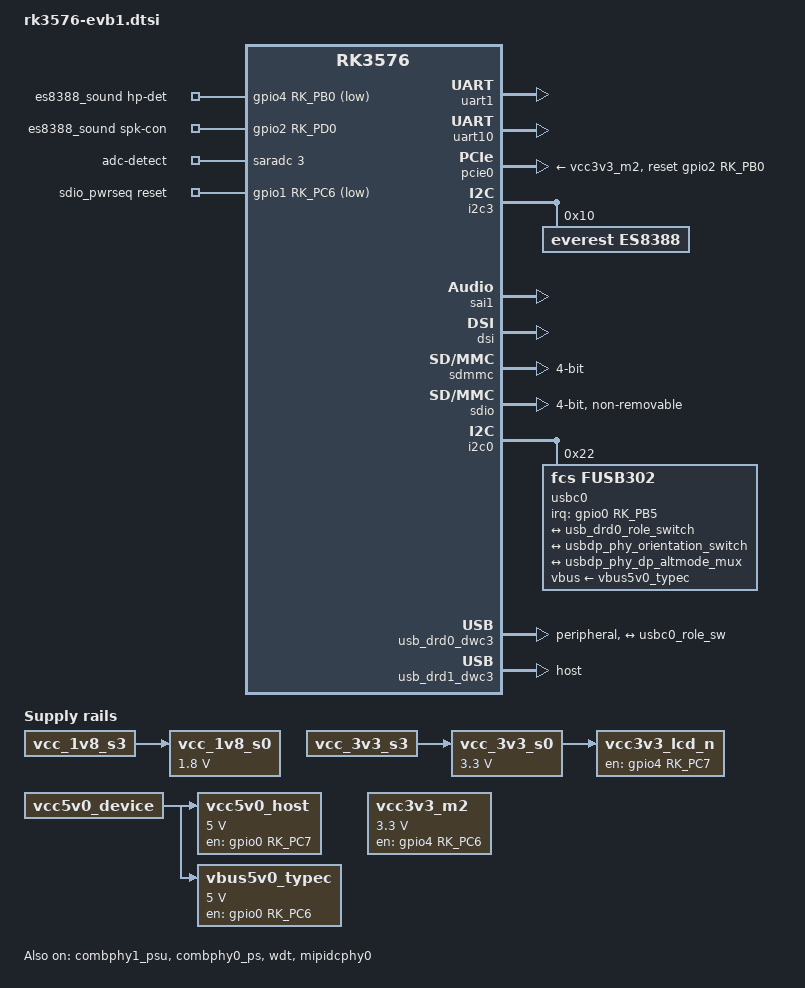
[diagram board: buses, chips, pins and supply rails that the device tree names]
// SPDX-License-Identifier: (GPL-2.0+ OR MIT)
/*
 * Copyright (c) 2024 Rockchip Electronics Co., Ltd.
 *
 */

#include <dt-bindings/usb/pd.h>
#include "rk3576-evb.dtsi"
#include "rk3576-rk806.dtsi"

/ {
	es8388_sound: es8388-sound {
        status = "okay";
        compatible = "rockchip,multicodecs-card";
        rockchip,card-name = "rockchip-es8388";
        hp-det-gpio = <&gpio4 RK_PB0 GPIO_ACTIVE_LOW>;
        io-channels = <&saradc 3>;
        io-channel-names = "adc-detect";
        keyup-threshold-microvolt = <1800000>;
        poll-interval = <100>;
        spk-con-gpio = <&gpio2 RK_PD0 GPIO_ACTIVE_HIGH>;
        //hp-con-gpio = <&gpio3 RK_PD6 GPIO_ACTIVE_HIGH>;
        rockchip,pre-power-on-delay-ms = <30>;
        rockchip,post-power-down-delay-ms = <40>;
        rockchip,format = "i2s";
        rockchip,mclk-fs = <256>;
        rockchip,cpu = <&sai1>;
        rockchip,codec = <&es8388>;
        rockchip,audio-routing =
            "Headphone", "LOUT1",
            "Headphone", "ROUT1",
            "Speaker", "LOUT2",
            "Speaker", "ROUT2",
            "Headphone", "Headphone Power",
            
            "Speaker", "Speaker Power",
            
            "LINPUT1", "Main Mic",
            
            "RINPUT1", "Headset Mic",
            "RINPUT2", "Headset Mic";
        pinctrl-names = "default";
        pinctrl-0 = <&hp_det>;
        play-pause-key {
            label = "playpause";
            linux,code = <KEY_PLAYPAUSE>;
            press-threshold-microvolt = <2000>;
        };
    };



	sdio_pwrseq: sdio-pwrseq {
        compatible = "mmc-pwrseq-simple";
        pinctrl-names = "default";
        pinctrl-0 = <&wifi_poweren_gpio>;

        /*
         * On the module itself this is one of these (depending
         * on the actual card populated):
         * - SDIO_RESET_L_WL_REG_ON
         * - PDN (power down when low)
         */
        post-power-on-delay-ms = <200>;
        reset-gpios = <&gpio1 RK_PC6 GPIO_ACTIVE_LOW>;
        status = "okay";
    };

	vcc_1v8_s0: vcc-1v8-s0 {
		compatible = "regulator-fixed";
		regulator-name = "vcc_1v8_s0";
		regulator-boot-on;
		regulator-always-on;
		regulator-min-microvolt = <1800000>;
		regulator-max-microvolt = <1800000>;
		vin-supply = <&vcc_1v8_s3>;
	};

	vcc_3v3_s0: vcc-3v3-s0 {
		compatible = "regulator-fixed";
		regulator-name = "vcc_3v3_s0";
		regulator-boot-on;
		regulator-always-on;
		regulator-min-microvolt = <3300000>;
		regulator-max-microvolt = <3300000>;
		vin-supply = <&vcc_3v3_s3>;
	};



	



	vcc3v3_lcd_n: vcc3v3-lcd0-n {
		compatible = "regulator-fixed";
		regulator-name = "vcc3v3_lcd0_n";
		regulator-boot-on;
		enable-active-high;
		gpio = <&gpio4 RK_PC7 GPIO_ACTIVE_HIGH>;
		vin-supply = <&vcc_3v3_s0>;
	};

	vcc5v0_host: vcc5v0-host {
		compatible = "regulator-fixed";
		regulator-name = "vcc5v0_host";
		regulator-boot-on;
		regulator-always-on;
		regulator-min-microvolt = <5000000>;
		regulator-max-microvolt = <5000000>;
		enable-active-high;
		gpio = <&gpio0 RK_PC7 GPIO_ACTIVE_HIGH>;
		vin-supply = <&vcc5v0_device>;
		pinctrl-names = "default";
		pinctrl-0 = <&usb_host_pwren>;
	};

	vbus5v0_typec: vbus5v0-typec {
		compatible = "regulator-fixed";
		regulator-name = "vbus5v0_typec";
		regulator-min-microvolt = <5000000>;
		regulator-max-microvolt = <5000000>;
		enable-active-high;
		gpio = <&gpio0 RK_PC6 GPIO_ACTIVE_HIGH>;
		vin-supply = <&vcc5v0_device>;
		pinctrl-names = "default";
		pinctrl-0 = <&usb_otg0_pwren>;
	};

	vcc3v3_m2: vcc3v3-m2 {
        compatible = "regulator-fixed";
        regulator-name = "vcc3v3_m2";
        gpios = <&gpio4 RK_PC6 GPIO_ACTIVE_HIGH>;
        enable-active-high;
        regulator-always-on;
        regulator-boot-on;
        regulator-min-microvolt = <3300000>;
        regulator-max-microvolt = <3300000>;
        startup-delay-us = <1000>;
    };

	
};



&combphy1_psu {
	status = "okay";
};

/**********禁用type-c dp输出节点**********/

&dp {
	status = "disabled";
	svid = <0xff01>;
};

&dp0 {
	status = "disabled";
};

&dp0_in_vp2 {
	status = "disabled";
};

&dp0_sound {
	status = "disabled";
};

&spdif_tx3 {
	status = "disabled";
};

/**********已适配内容**********/

/**********分支二禁用千兆网卡、调整为mcu uartx2交互**********/

&uart1 {
    status = "okay";
    pinctrl-names = "default";
    pinctrl-0 = <&uart1m2_xfer>;
};

&uart10 {
    status = "okay";
    pinctrl-names = "default";
    pinctrl-0 = <&uart10m0_xfer>;
};

/**********禁用hdmi节点**********/

&hdmi {
	status = "disabled";
	enable-gpios = <&gpio2 RK_PB0 GPIO_ACTIVE_HIGH>;
	rockchip,sda-falling-delay-ns = <360>;
};

&hdmi_in_vp0 {
	status = "disabled";
};

&hdptxphy_hdmi {
	status = "disabled";
};

&route_hdmi {
	status = "disabled";
	connect = <&vp0_out_hdmi>;
};

&vp0 {
	status = "disabled";
};

/**********PCIE-SSD**********/

&combphy0_ps {
	status = "okay";
};

&pcie0 {
    vpcie3v3-supply = <&vcc3v3_m2>;
    reset-gpios = <&gpio2 RK_PB0 GPIO_ACTIVE_HIGH>;
    status = "okay";
};

/**********看门狗**********/

&wdt{
        status = "okay";
};

/**********ES8388 模拟MIC、扬声器**********/

&i2c3 {
    status = "okay";
    pinctrl-0 = <&i2c3m0_xfer>;
    es8388: es8388@10 {
        status = "okay";
        #sound-dai-cells = <0>;
        compatible = "everest,es8388", "everest,es8323";
        reg = <0x10>;
        clocks = <&mclkout_sai1>;
        clock-names = "mclk";
        assigned-clocks = <&mclkout_sai1>;
        assigned-clock-rates = <12288000>;
        pinctrl-names = "default";
        pinctrl-0 = <&sai1m0_mclk>;
    };
};

&sai1 {
    status = "okay";
    pinctrl-names = "default";
    pinctrl-0 = <&sai1m0_lrck
             &sai1m0_sclk
             &sai1m0_sdi0
             &sai1m0_sdo0>;
};

/**********3.92寸屏幕**********/

/*
 * mipidcphy0 needs to be enabled
 * when dsi is enabled
 */
&dsi {
	status = "okay";
};

&dsi_panel {
    reset-gpios = <&gpio3 RK_PA4 GPIO_ACTIVE_LOW>;
	power-supply = <&vcc3v3_lcd_n>;
};

&mipidcphy0 {
	status = "okay";
};

/**********TF**********/

&sdmmc {
    max-frequency = <200000000>;
    no-sdio;
    no-mmc;
    bus-width = <4>;
    cap-mmc-highspeed;
    cap-sd-highspeed;
    disable-wp;
    sd-uhs-sdr104;
    vqmmc-supply = <&vccio_sd_s0>;
    pinctrl-names = "default";
    pinctrl-0 = <&sdmmc0_clk &sdmmc0_cmd &sdmmc0_det &sdmmc0_bus4 &sdmmc0_pwren>;   
    status = "okay";
};

/**********aic8800 wifi bt**********/

&sdio {
    max-frequency = <200000000>;
    no-sd;
    no-mmc;
    bus-width = <4>;
    disable-wp;
    cap-sd-highspeed;
    cap-sdio-irq;
    keep-power-in-suspend;
    mmc-pwrseq = <&sdio_pwrseq>;
    non-removable;
    pinctrl-names = "default";
    pinctrl-0 = <&sdmmc1m0_bus4 &sdmmc1m0_clk &sdmmc1m0_cmd>;
    sd-uhs-sdr104;
    status = "okay";
};

/**********已适配内容**********/




&i2c0 {
	status = "okay";

	usbc0: fusb302@22 {
        compatible = "fcs,fusb302";
        reg = <0x22>;
        interrupt-parent = <&gpio0>;
        interrupts = <RK_PB5 IRQ_TYPE_LEVEL_LOW>;
		pinctrl-names = "default";
		pinctrl-0 = <&usbc0_int>;
		vbus-supply = <&vbus5v0_typec>;
		status = "okay";

		port {
			usbc0_role_sw: endpoint {
				remote-endpoint = <&usb_drd0_role_switch>;
			};
		};

		usb_con: connector {
			compatible = "usb-c-connector";
			label = "USB-C";
			data-role = "dual";
			power-role = "dual";
			try-power-role = "sink";
			op-sink-microwatt = <1000000>;
			sink-pdos =
				<PDO_FIXED(5000, 1000, PDO_FIXED_USB_COMM)>;
			source-pdos =
				<PDO_FIXED(5000, 3000, PDO_FIXED_USB_COMM)>;
			mode-switch = <&dp>;

			altmodes {
				#address-cells = <1>;
				#size-cells = <0>;

				altmode@0 {
					reg = <0>;
					svid = <0xff01>;
					vdo = <0xffffffff>;
				};
			};

			ports {
				#address-cells = <1>;
				#size-cells = <0>;

				port@0 {
					reg = <0>;
					usbc0_orien_sw: endpoint {
						remote-endpoint = <&usbdp_phy_orientation_switch>;
					};
				};

				port@1 {
					reg = <1>;
					dp_altmode_mux: endpoint {
						remote-endpoint = <&usbdp_phy_dp_altmode_mux>;
					};
				};
			};
		};
	};
};












&pinctrl {
	

	headphone {
		hp_det: hp-det {
			rockchip,pins = <4 RK_PB0 RK_FUNC_GPIO &pcfg_pull_up>;
		};
	};

	usb {
		usb_host_pwren: usb-host-pwren {
			rockchip,pins = <0 RK_PC7 RK_FUNC_GPIO &pcfg_pull_none>;
		};

		usb_otg0_pwren: usb-otg0-pwren {
			rockchip,pins = <0 RK_PC6 RK_FUNC_GPIO &pcfg_pull_none>;
		};

		usbc0_int: usbc0-int {
			rockchip,pins = <0 RK_PB5 RK_FUNC_GPIO &pcfg_pull_up>;
		};
	};

	wireless-bluetooth {
		uart4_gpios: uart4-gpios {
			rockchip,pins = <1 RK_PC2 RK_FUNC_GPIO &pcfg_pull_none>;
		};
	};

	wireless-wlan {
		wifi_host_wake_irq: wifi-host-wake-irq {
			rockchip,pins = <1 RK_PD1 RK_FUNC_GPIO &pcfg_pull_down>;
		};

		wifi_poweren_gpio: wifi-poweren-gpio {
			rockchip,pins = <1 RK_PC6 RK_FUNC_GPIO &pcfg_pull_up>;
		};
	};
};













&u2phy0_otg {
	rockchip,typec-vbus-det;
};

&u2phy1_otg {
	phy-supply = <&vcc5v0_host>;
};

&usbdp_phy {
	orientation-switch;
	svid = <0xff01>;
	sbu1-dc-gpios = <&gpio2 RK_PA6 GPIO_ACTIVE_HIGH>;
	sbu2-dc-gpios = <&gpio2 RK_PA7 GPIO_ACTIVE_HIGH>;

	port {
		#address-cells = <1>;
		#size-cells = <0>;

		usbdp_phy_orientation_switch: endpoint@0 {
			reg = <0>;
			remote-endpoint = <&usbc0_orien_sw>;
		};

		usbdp_phy_dp_altmode_mux: endpoint@1 {
			reg = <1>;
			remote-endpoint = <&dp_altmode_mux>;
		};
	};
};

&usb_drd0_dwc3 {
	dr_mode = "peripheral";
	usb-role-switch;
	port {
		usb_drd0_role_switch: endpoint {
			remote-endpoint = <&usbc0_role_sw>;
		};
	};
};

&usb_drd1_dwc3 {
	dr_mode = "host";
	status = "okay";
};


